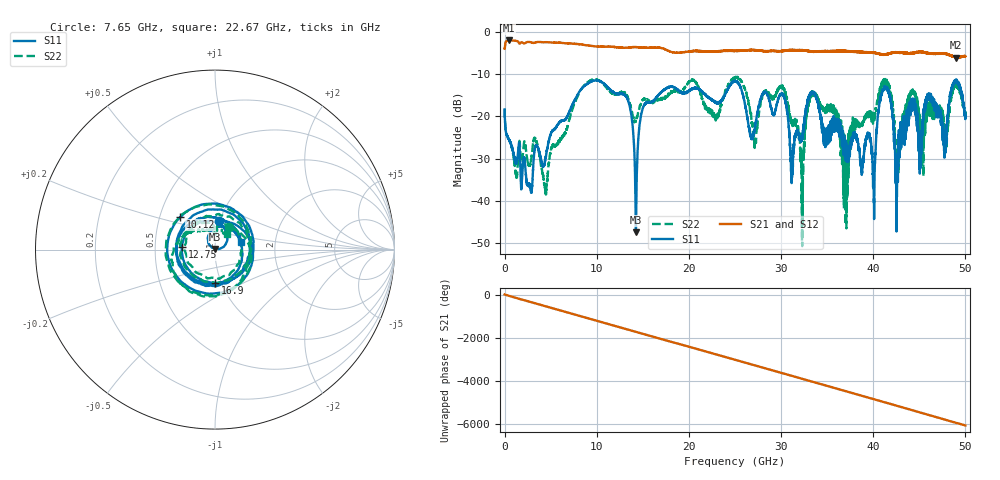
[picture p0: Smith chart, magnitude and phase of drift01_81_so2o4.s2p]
!Created with skrf (http://scikit-rf.org).
# Hz S RI R 50.0
!freq ReS11 ImS11 ReS21 ImS21 ReS12 ImS12 ReS22 ImS22
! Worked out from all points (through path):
!   10001 points, 300 kHz to 50 GHz, reference 50 ohm
!   highest |S21| = -2.00 dB at 490.3 MHz (marker M1); lowest = -6.1 dB at 48.98 GHz (marker M2)
!   group delay of S21, straight-line fit = 336 ps
!   lowest |S11| = -47.4 dB at 14.25 GHz (marker M3), VSWR 1.01, Z = 50.1 + j0.42 ohm
!   |S11| at or under -10 dB: start of sweep to end of sweep
!   |S22| runs from -50.7 to -10.6 dB; largest |S21 - S12| = 0.02
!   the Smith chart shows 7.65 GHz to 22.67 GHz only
!   S11 on the Smith chart (normalised r, x): 7.65 GHz: 0.99, +0.32; 10.12 GHz: 0.64, +0.25; 12.75 GHz: 0.69, +0.02; 16.9 GHz: 0.93, -0.36; 22.67 GHz: 1.35, +0.11
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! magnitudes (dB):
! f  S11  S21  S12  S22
! 300 kHz  -18.4  -4.0  -4.0  -18.2
! 490.3 MHz  -25.6  -2.0  -2.0  -25.5
! 4.445 GHz  -29.7  -2.4  -2.4  -37.8
! 7.65 GHz  -15.9  -2.8  -2.8  -16.6
! 8.335 GHz  -13.5  -2.9  -3.0  -13.5
! 10.12 GHz  -11.5  -3.4  -3.4  -11.4
! 12.75 GHz  -14.7  -3.7  -3.7  -14.3
! 14.25 GHz  -47.4  -3.6  -3.6  -21.2
! 16.67 GHz  -14.9  -3.7  -3.7  -15.9
! 16.9 GHz  -14.5  -3.7  -3.8  -16.1
! 22.67 GHz  -16.2  -4.6  -4.6  -19.4
! 25 GHz  -11.5  -4.5  -4.5  -10.9
! 27.18 GHz  -22.3  -4.3  -4.3  -25.7
! 30.22 GHz  -14.9  -4.5  -4.5  -13.6
! 32.28 GHz  -25.1  -4.3  -4.3  -47.5
! 33.34 GHz  -14.2  -4.6  -4.6  -14.6
! 36.98 GHz  -27.5  -4.5  -4.6  -41.2
! 40.05 GHz  -38.1  -4.9  -4.9  -19.7
! 41.67 GHz  -13.8  -5.1  -5.1  -13.6
! 42.6 GHz  -31.1  -4.8  -4.8  -31.9
! 48.98 GHz  -11.4  -6.1  -6.0  -12.7
! 50 GHz  -19.7  -5.8  -5.8  -19.4
